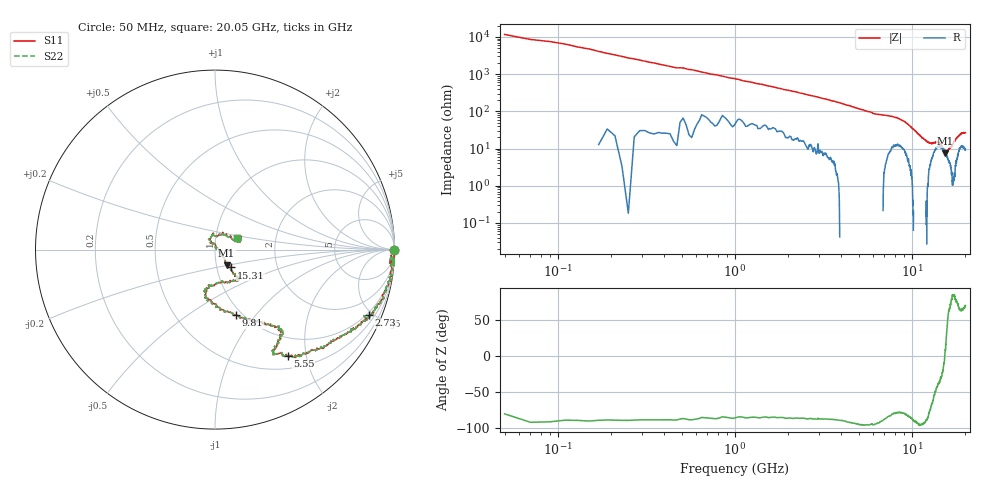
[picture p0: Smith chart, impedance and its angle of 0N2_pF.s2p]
! P/N: 500R07S0R2AV4
! Measured by Marlon
! Oct. 28, 2003
#	mhz	s	ma	r	50
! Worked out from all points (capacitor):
!   1001 points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, 50 MHz to 20.05 GHz, reference 50 ohm
!   read as one part in series: C = 232 fF near 150 MHz
!   lowest |Z| = 7.46 ohm at 15.43 GHz (marker M1)
!   series resonance near 15.33 GHz, so ESL is about 460 pH
!   S11 on the Smith chart (normalised r, x): 50 MHz: open; 2.73 GHz: 0.83, -4.75; 5.55 GHz: 0.68, -1.68; 9.81 GHz: 0.93, -0.80; 15.31 GHz: 1.17, -0.24; 20.05 GHz: 1.26, +0.17
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50  0.9999 0.0  0.00865 80.9  0.00865 80.9  0.9999 0.0
330  0.9999 -3.2  0.04817 86.1  0.04817 86.1  0.9999 -3.2
750  0.9905 -4.4  0.1008 82.8  0.1008 82.8  0.9905 -4.4
2730  0.9336 -23.1  0.3556 64.5  0.3556 64.5  0.9336 -23.1
3390  0.8951 -28.9  0.4363 59.4  0.4363 59.4  0.8951 -28.9
5550  0.7187 -55.8  0.6485 43.5  0.6485 43.5  0.7187 -55.8
6730  0.633 -58.4  0.7277 34.9  0.7277 34.9  0.633 -58.4
8230  0.572 -51.1  0.7891 26.2  0.7891 26.2  0.572 -51.1
9810  0.3843 -72.2  0.8738 17.6  0.8738 17.6  0.3843 -72.2
10050  0.3517 -78.3  0.8793 16.3  0.8793 16.3  0.3517 -78.3
11450  0.2386 -104.7  0.9117 9.6  0.9117 9.6  0.2386 -104.7
13390  0.1954 -63.5  0.9188 1.3  0.9188 1.3  0.1954 -63.5
14390  0.2071 -50.7  0.9206 -2.0  0.9206 -2.0  0.2071 -50.7
15310  0.1331 -48.2  0.9325 -5.9  0.9325 -5.9  0.1331 -48.2
15430  0.1095 -53.9  0.9318 -6.3  0.9318 -6.3  0.1095 -53.9
15790  0.05904 -44.3  0.9298 -8.0  0.9298 -8.0  0.05904 -44.3
16190  0.00719 39.4  0.9211 -9.5  0.9211 -9.5  0.00719 39.4
16510  0.03496 107.6  0.9167 -10.0  0.9167 -10.0  0.03496 107.6
16730  0.04462 126.2  0.9225 -10.3  0.9225 -10.3  0.04462 126.2
17330  0.08796 97.5  0.9365 -13.0  0.9365 -13.0  0.08796 97.5
18570  0.1449 22.0  0.9253 -18.0  0.9253 -18.0  0.1449 22.0
20050  0.1384 29.1  0.9133 -21.9  0.9133 -21.9  0.1384 29.1
